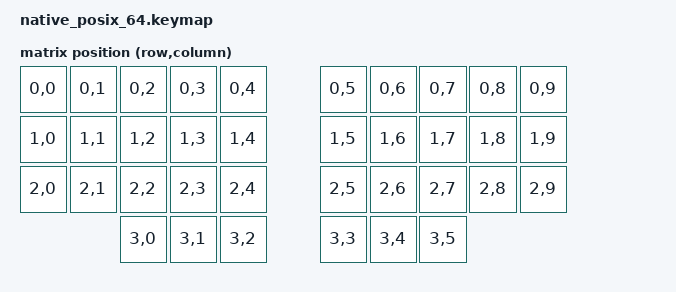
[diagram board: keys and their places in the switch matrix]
#include <dt-bindings/zmk/matrix_transform.h>
#include <dt-bindings/zmk/kscan_mock.h>

/ {
    chosen {
        zmk,matrix-transform = &transform;
    };

    /* op36 position N is RC(N/10, N%10); thumbs 30..35 are row 3. */
    transform: keymap_transform {
        compatible = "zmk,matrix-transform";
        columns = <10>;
        rows = <4>;
        map = <
            RC(0,0) RC(0,1) RC(0,2) RC(0,3) RC(0,4) RC(0,5) RC(0,6) RC(0,7) RC(0,8) RC(0,9)
            RC(1,0) RC(1,1) RC(1,2) RC(1,3) RC(1,4) RC(1,5) RC(1,6) RC(1,7) RC(1,8) RC(1,9)
            RC(2,0) RC(2,1) RC(2,2) RC(2,3) RC(2,4) RC(2,5) RC(2,6) RC(2,7) RC(2,8) RC(2,9)
            RC(3,0) RC(3,1) RC(3,2) RC(3,3) RC(3,4) RC(3,5)
        >;
    };
};&kscan {
    rows = <4>;
    columns = <10>;
    events = <
        /* lead-in so require-prior-idle-ms sees real idle time */
        ZMK_MOCK_PRESS(0,1,10)
        ZMK_MOCK_RELEASE(0,1,400)

        /* Hold F (pos 2) past the 280 ms term, then chord M (pos 15, opposite
           hand and a plain &kp). All four modifiers must appear as separate
           0xE0..0xE3 keycodes and still be down when M is sent — that is the
           whole point of building Hyper from four &kp instead of implicit
           mods on one. */
        ZMK_MOCK_PRESS(0,2,350)
        ZMK_MOCK_PRESS(1,5,30)
        ZMK_MOCK_RELEASE(1,5,30)
        ZMK_MOCK_RELEASE(0,2,300)

        /* Tapped, F is still f. */
        ZMK_MOCK_PRESS(0,2,50)
        ZMK_MOCK_RELEASE(0,2,300)

        /* Hold U (pos 7) and chord G (pos 14) the other way round. */
        ZMK_MOCK_PRESS(0,7,350)
        ZMK_MOCK_PRESS(1,4,30)
        ZMK_MOCK_RELEASE(1,4,30)
        ZMK_MOCK_RELEASE(0,7,300)

        /* The layout switch has moved to the thumbs, so positions 2+3 carry
           nothing special any more: this must type f and p, with no switch
           and no layer change. Position 2 is purely Hyper now. */
        ZMK_MOCK_PRESS(0,2,5)
        ZMK_MOCK_PRESS(0,3,30)
        ZMK_MOCK_RELEASE(0,2,10)
        ZMK_MOCK_RELEASE(0,3,200)
    >;
};

#include "/cfg/op36_ruen.keymap"
